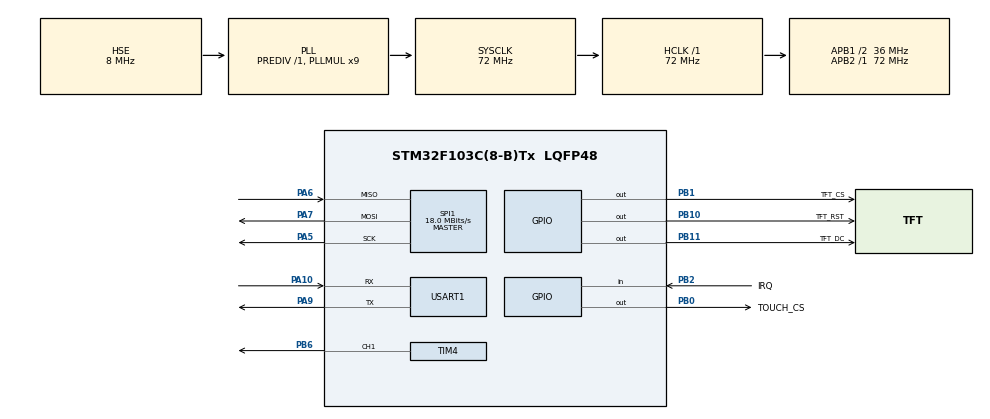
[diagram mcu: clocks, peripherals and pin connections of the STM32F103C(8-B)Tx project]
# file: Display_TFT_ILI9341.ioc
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Mcu.Family=STM32F1
Mcu.Name=STM32F103C(8-B)Tx
Mcu.Package=LQFP48
NVIC.PriorityGroup=NVIC_PRIORITYGROUP_4
PA10.Mode=Asynchronous
PA10.Signal=USART1_RX
PA13.Mode=Serial_Wire
PA13.Signal=SYS_JTMS-SWDIO
PA14.Mode=Serial_Wire
PA14.Signal=SYS_JTCK-SWCLK
PA5.Mode=Full_Duplex_Master
PA5.Signal=SPI1_SCK
PA6.Mode=Full_Duplex_Master
PA6.Signal=SPI1_MISO
PA7.Mode=Full_Duplex_Master
PA7.Signal=SPI1_MOSI
PA9.Mode=Asynchronous
PA9.Signal=USART1_TX
PB0.GPIO_Label=TOUCH_CS
PB0.Signal=GPIO_Output
PB1.GPIO_Label=TFT_CS
PB1.Signal=GPIO_Output
PB10.GPIO_Label=TFT_RST
PB10.Signal=GPIO_Output
PB11.GPIO_Label=TFT_DC
PB11.Signal=GPIO_Output
PB2.GPIO_Label=IRQ
PB2.Signal=GPIO_Input
PB6.Signal=S_TIM4_CH1
PD0-OSC_IN.Mode=HSE-External-Oscillator
PD0-OSC_IN.Signal=RCC_OSC_IN
PD1-OSC_OUT.Mode=HSE-External-Oscillator
PD1-OSC_OUT.Signal=RCC_OSC_OUT
ProjectManager.HeapSize=0x200
ProjectManager.StackSize=0x400
ProjectManager.TargetToolchain=TrueSTUDIO
RCC.ADCPresc=RCC_ADCPCLK2_DIV6
RCC.AHBFreq_Value=72000000
RCC.APB1CLKDivider=RCC_HCLK_DIV2
RCC.APB1Freq_Value=36000000
RCC.APB1TimFreq_Value=72000000
RCC.APB2Freq_Value=72000000
RCC.APB2TimFreq_Value=72000000
RCC.HCLKFreq_Value=72000000
RCC.PLLMUL=RCC_PLL_MUL9
RCC.PLLSourceVirtual=RCC_PLLSOURCE_HSE
RCC.SYSCLKFreq_VALUE=72000000
RCC.SYSCLKSource=RCC_SYSCLKSOURCE_PLLCLK
RCC.USBFreq_Value=72000000
SH.S_TIM4_CH1.0=TIM4_CH1,PWM Generation1 CH1
SPI1.BaudRatePrescaler=SPI_BAUDRATEPRESCALER_4
SPI1.CalculateBaudRate=18.0 MBits/s
SPI1.Direction=SPI_DIRECTION_2LINES
SPI1.Mode=SPI_MODE_MASTER
SPI1.VirtualType=VM_MASTER
TIM4.Channel-PWM\ Generation1\ CH1=TIM_CHANNEL_1
TIM4.Period=1000
TIM4.Prescaler=71
TIM4.Pulse-PWM\ Generation1\ CH1=500
USART1.VirtualMode=VM_ASYNC
board=custom

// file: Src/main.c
/* USER CODE BEGIN Header */
/**
  ******************************************************************************
  * @file           : main.c
  * @brief          : Main program body
  ******************************************************************************
  * @attention
  *
  * <h2><center>&copy; Copyright (c) 2020 STMicroelectronics.
  * All rights reserved.</center></h2>
  *
  * This software component is licensed by ST under BSD 3-Clause license,
  * the "License"; You may not use this file except in compliance with the
  * License. You may obtain a copy of the License at:
  *                        opensource.org/licenses/BSD-3-Clause
  *
  ******************************************************************************
  */
/* USER CODE END Header */

#include "main.h"

/* USER CODE BEGIN Includes */
#include "string.h"
#include "stdio.h"

#include "ILI9341_GFX.h"
#include "fonts.h"
#include "img.h"
#include "xpt2046_touch.h"
/* USER CODE END Includes */

SPI_HandleTypeDef hspi1;

TIM_HandleTypeDef htim4;

UART_HandleTypeDef huart1;

void SystemClock_Config(void);
static void MX_GPIO_Init(void);
static void MX_SPI1_Init(void);
static void MX_USART1_UART_Init(void);
static void MX_TIM4_Init(void);

int main(void)
{

  /* MCU Configuration--------------------------------------------------------*/

  /* Reset of all peripherals, Initializes the Flash interface and the Systick. */
  HAL_Init();

  /* Configure the system clock */
  SystemClock_Config();

  /* Initialize all configured peripherals */
  MX_GPIO_Init();
  MX_SPI1_Init();
  MX_USART1_UART_Init();
  MX_TIM4_Init();
  /* USER CODE BEGIN 2 */
  HAL_TIM_PWM_Start(&htim4, TIM_CHANNEL_1); // этот таймер используется у меня для подсветки экрана
  HAL_UART_Transmit(&huart1, (uint8_t*)"Start\n", 6, 1000);

  __HAL_SPI_ENABLE(DISP_SPI_PTR);

  DISP_CS_UNSELECT;
  TOUCH_CS_UNSELECT; // это нужно только если есть тач

  /////////////////////////////////////////////////////////////////////////////////////////////////////////////////
  ILI9341_Init(); // инициализация дисплея

  /////////////////////////// далее демонстрируются различные пользовательские функции ////////////////////////////
  ILI9341_Set_Rotation(SCREEN_HORIZONTAL_2); // установка ориентации экрана (варианты в файле ILI9341_GFX.h)

  /////////////////////////////////////////////////////////////////////////////////////////////////////////////////
  ILI9341_Fill_Screen(MYFON); // заливка всего экрана цветом (цвета в файле ILI9341_GFX.h)

  /////////////////////////////////////////////////////////////////////////////////////////////////////////////////
  /* вывод строк разными шрифтами (шрифты определены в файле fonts.h, а массивы шрифтов в файле fonts.c)
  первый и второй аргумент это начало координат (справа, сверху), четвёртый аргумент шрифт
  два последних аргумента это цвет шрифта и цвет фона шрифта */

  ILI9341_WriteString(10, 10, "Hello World", Font_7x10, WHITE, MYFON); // можно передавать непосредственно текст
  ILI9341_WriteString(20, 30, "Hello World", Font_11x18, WHITE, MYFON);
  ILI9341_WriteString(30, 60, "Hello World", Font_16x26, BLUE, DARKGREEN);

  char txt_buf[] = "Hello World";
  ILI9341_WriteString(40, 96, txt_buf, Font_16x26, RED, GREEN); // можно передавать массив

  HAL_Delay(1000);

  ILI9341_Fill_Screen(MYFON);

  /////////////////////////////////////////////////////////////////////////////////////////////////////////////////
  ILI9341_Draw_Pixel(100, 100, WHITE); // рисует пиксель (координаты и цвет)
  HAL_Delay(300);
  ILI9341_Draw_Pixel(102, 100, MAROON);
  HAL_Delay(300);
  ILI9341_Draw_Pixel(100, 102, BLUE);
  HAL_Delay(300);
  ILI9341_Draw_Pixel(102, 102, RED);
  HAL_Delay(300);

  for(uint8_t i = 0; i < 100; i++)
  {
	  ILI9341_Draw_Pixel(i, 20, WHITE);
	  HAL_Delay(10);
  }

  for(uint8_t i = 0; i < 100; i++)
  {
	  ILI9341_Draw_Pixel(40, i, BLUE);
	  HAL_Delay(10);
  }

  for(uint8_t i = 0; i < 100; i++)
  {
	  ILI9341_Draw_Pixel(i, i, RED);
	  HAL_Delay(10);
  }

  HAL_Delay(1000);

  ILI9341_Fill_Screen(MYFON);

  /////////////////////////////////////////////////////////////////////////////////////////////////////////////////
  ILI9341_Draw_Rectangle(10, 10, 50, 70, WHITE); // рисует закрашеный прямоугольник (первые два аргумента это начальные координаты, а следующие два это ширина и высота)

  HAL_Delay(1000);

  ILI9341_Fill_Screen(MYFON);

  /////////////////////////////////////////////////////////////////////////////////////////////////////////////////
  ILI9341_Draw_Horizontal_Line(10, 10, 200, WHITE); // рисует горизонтальную линию (первые два аргумента это начальные координаты, а третий длина)

  HAL_Delay(1000);

  ILI9341_Fill_Screen(MYFON);

  /////////////////////////////////////////////////////////////////////////////////////////////////////////////////
  ILI9341_Draw_Vertical_Line(10, 10, 200, WHITE); // рисует вертикальную линию (первые два аргумента это начальные координаты, а третий длина)

  HAL_Delay(1000);

  ILI9341_Fill_Screen(MYFON);

  /////////////////////////////////////////////////////////////////////////////////////////////////////////////////
  ILI9341_Random_line(160, 120, 50, 175, WHITE); // рисует произвольную линию (первые два аргумента это начальные координаты, а третий и четвёртый - конечные)

  HAL_Delay(1000);

  ILI9341_Random_line(123, 180, 150, 75, WHITE);

  HAL_Delay(1000);

  ILI9341_Fill_Screen(MYFON);

  /////////////////////////////////////////////////////////////////////////////////////////////////////////////////
  ILI9341_Draw_Hollow_Circle(100, 100, 50, WHITE); // рисует прозрачный круг (первые два аргумента это координаты центра, а третий радиус)

  HAL_Delay(1000);

  ILI9341_Fill_Screen(MYFON);

  /////////////////////////////////////////////////////////////////////////////////////////////////////////////////
  ILI9341_Draw_Filled_Circle(150, 100, 40, WHITE); // рисует закрашеный круг (первые два аргумента это координаты центра, а третий радиус)

  HAL_Delay(1000);

  ILI9341_Fill_Screen(MYFON);

  /////////////////////////////////////////////////////////////////////////////////////////////////////////////////
  ILI9341_Draw_Hollow_Rectangle_Coord(10, 10, 50, 70, WHITE); // рисует прозрачный прямоугольник (первые два аргумента это начальные координаты, а вторые два конечные)

  HAL_Delay(1000);

  ILI9341_Fill_Screen(MYFON);

  /////////////////////////////////////////////////////////////////////////////////////////////////////////////////
  ILI9341_Draw_Filled_Rectangle_Coord(20, 20, 70, 60, WHITE); // рисует закрашеный прямоугольник (первые два аргумента это начальные координаты, а вторые два конечные)

  HAL_Delay(1000);

  ILI9341_Fill_Screen(MYFON);

  ////////////////////////////////// ВЫВОД КАРТИНКИ ИЗ ВНУТРЕННЕЙ ПАМЯТИ //////////////////////////////////////////
  uint16_t size_img = sizeof(img_logo); // размер картинки в байтах (картинка лежит в файле img.h)

  ILI9341_Draw_Image(img_logo, 30, 30, 80, 80, size_img); // подробности см. статье

  HAL_Delay(1000);

  //////////////////////////////////// смена ориентации экрана ///////////////////////////////////////

  ILI9341_Fill_Screen(MYFON);
  ILI9341_Set_Rotation(SCREEN_VERTICAL_1);
  ILI9341_Draw_Image(img_logo, 30, 30, 80, 80, size_img);
  ILI9341_WriteString(30, 120, "SCREEN_VERTICAL_1", Font_11x18, WHITE, MYFON);
  HAL_Delay(1000);

  ILI9341_Fill_Screen(MYFON);
  ILI9341_Set_Rotation(SCREEN_HORIZONTAL_1);
  ILI9341_Draw_Image(img_logo, 30, 30, 80, 80, size_img);
  ILI9341_WriteString(30, 120, "SCREEN_HORIZONTAL_1", Font_11x18, WHITE, MYFON);
  HAL_Delay(1000);

  ILI9341_Fill_Screen(MYFON);
  ILI9341_Set_Rotation(SCREEN_VERTICAL_2);
  ILI9341_Draw_Image(img_logo, 30, 30, 80, 80, size_img);
  ILI9341_WriteString(30, 120, "SCREEN_VERTICAL_2", Font_11x18, WHITE, MYFON);
  HAL_Delay(1000);

  ILI9341_Fill_Screen(MYFON);
  ILI9341_Set_Rotation(SCREEN_HORIZONTAL_2);
  ILI9341_Draw_Image(img_logo, 30, 30, 80, 80, size_img);
  ILI9341_WriteString(30, 120, "SCREEN_HORIZONTAL_2", Font_11x18, WHITE, MYFON);

  /////////////////////////////////////////////////////////////////////////////////////////////////////////////////
  char buf[64] = {0,};

  uint8_t flag_press = 1;
  uint32_t time_press = 0;

  uint8_t flag_hold = 1;
  uint32_t timme_hold = 0;

  uint16_t x = 0;
  uint16_t y = 0;

  /* USER CODE END 2 */

  /* Infinite loop */
  /* USER CODE BEGIN WHILE */
while (1)
{
  if(HAL_GPIO_ReadPin(IRQ_GPIO_Port, IRQ_Pin) == GPIO_PIN_RESET && flag_press) // если нажат тачскрин
  {
	  x = 0;
	  y = 0;

	  TOUCH_CS_UNSELECT;
	  DISP_CS_UNSELECT;

	  HAL_SPI_DeInit(DISP_SPI_PTR);
	  hspi1.Init.BaudRatePrescaler = SPI_BAUDRATEPRESCALER_64;
	  HAL_SPI_Init(DISP_SPI_PTR);

	  if(ILI9341_TouchGetCoordinates(&x, &y))
	  {
		  flag_press = 0;

		  //////// вывод координат в уарт для отладки ////////
		  snprintf(buf, 64, "X = %d, Y = %d\n", x, y);
		  HAL_UART_Transmit(&huart1, (uint8_t*)buf, strlen(buf), 100);
		  buf[strlen(buf) - 1] = '\0';
		  //////////////////////////////////////////////////////
	  }

	  HAL_SPI_DeInit(DISP_SPI_PTR);
	  hspi1.Init.BaudRatePrescaler = SPI_BAUDRATEPRESCALER_4;
	  HAL_SPI_Init(DISP_SPI_PTR);

	  __HAL_SPI_ENABLE(DISP_SPI_PTR);
	  DISP_CS_SELECT;

	  //////// вывод координат на экран для отладки ////////
	  ILI9341_Fill_Screen(MYFON);
	  ILI9341_WriteString(10, 120, buf, Font_11x18, WHITE, MYFON);
	  //////////////////////////////////////////////////////

	  if(x > 250 && x < 285 && y > 65 && y < 96) // если нажатие происходит в области этих координат
	  {
		  // что-то делаем
	  }
	  else if(x > 120 && x < 160 && y > 50 && y < 90) // если нажатие происходит в области этих координат
	  {
		  // что-то делаем
	  }
	  ///////////////// если нажатие происходит c удержанием кнопки ////////////////
	  else if(x > 5 && x < 90 && y > 160 && y < 230 && flag_hold) // первая кнопка
	  {
		  flag_hold = 0;
		  timme_hold = HAL_GetTick();
		  // здесь ничего не делаем
	  }
	  else if(x > 100 && x < 200 && y > 160 && y < 230 && flag_hold) // вторая кнопка
	  {
		  flag_hold = 0;
		  timme_hold = HAL_GetTick();
		  // здесь ничего не делаем
	  }

	  ///////////////////////////
	  time_press = HAL_GetTick();
  }

  if(!flag_press && (HAL_GetTick() - time_press) > 200) // задержка до следующего нажатия
  {
	  flag_press = 1;
  }

  //////////////////////////// удержание кнопки //////////////////////////////
  if(!flag_hold && HAL_GPIO_ReadPin(IRQ_GPIO_Port, IRQ_Pin) != GPIO_PIN_RESET)
  {
	  flag_hold = 1;
  }

  if(!flag_hold && (HAL_GetTick() - timme_hold) > 2000) // 2 sek удержание кнопки
  {
	  if(HAL_GPIO_ReadPin(IRQ_GPIO_Port, IRQ_Pin) == GPIO_PIN_RESET)
	  {
		  if(x > 5 && x < 90 && y > 160 && y < 230) // первая кнопка
		  {
			  HAL_UART_Transmit(&huart1, (uint8_t*)"LONG PRESS_1\n", 13, 100); // отладка
			  ILI9341_WriteString(10, 150, "LONG PRESS_1", Font_11x18, WHITE, MYFON); // отладка
			  // что-то делаем
		  }
		  else if(x > 100 && x < 200 && y > 160 && y < 230) // вторая кнопка
		  {
			  HAL_UART_Transmit(&huart1, (uint8_t*)"LONG PRESS_2\n", 13, 100); // отладка
			  ILI9341_WriteString(10, 150, "LONG PRESS_2", Font_11x18, WHITE, MYFON); // отладка
			  // что-то делаем
		  }
	  }

	  flag_hold = 1;
  }
  /////////////////////////////////////////////////////////////////////////////

// далее какой-то ваш код, который не должен сильно тормозить цикл

    /* USER CODE END WHILE */

}
}

void SystemClock_Config(void)
{
  RCC_OscInitTypeDef RCC_OscInitStruct = {0};
  RCC_ClkInitTypeDef RCC_ClkInitStruct = {0};

  /** Initializes the CPU, AHB and APB busses clocks
  */
  RCC_OscInitStruct.OscillatorType = RCC_OSCILLATORTYPE_HSE;
  RCC_OscInitStruct.HSEState = RCC_HSE_ON;
  RCC_OscInitStruct.HSEPredivValue = RCC_HSE_PREDIV_DIV1;
  RCC_OscInitStruct.HSIState = RCC_HSI_ON;
  RCC_OscInitStruct.PLL.PLLState = RCC_PLL_ON;
  RCC_OscInitStruct.PLL.PLLSource = RCC_PLLSOURCE_HSE;
  RCC_OscInitStruct.PLL.PLLMUL = RCC_PLL_MUL9;
  if (HAL_RCC_OscConfig(&RCC_OscInitStruct) != HAL_OK)
  {
    Error_Handler();
  }
  /** Initializes the CPU, AHB and APB busses clocks
  */
  RCC_ClkInitStruct.ClockType = RCC_CLOCKTYPE_HCLK|RCC_CLOCKTYPE_SYSCLK
                              |RCC_CLOCKTYPE_PCLK1|RCC_CLOCKTYPE_PCLK2;
  RCC_ClkInitStruct.SYSCLKSource = RCC_SYSCLKSOURCE_PLLCLK;
  RCC_ClkInitStruct.AHBCLKDivider = RCC_SYSCLK_DIV1;
  RCC_ClkInitStruct.APB1CLKDivider = RCC_HCLK_DIV2;
  RCC_ClkInitStruct.APB2CLKDivider = RCC_HCLK_DIV1;

  if (HAL_RCC_ClockConfig(&RCC_ClkInitStruct, FLASH_LATENCY_2) != HAL_OK)
  {
    Error_Handler();
  }
}

static void MX_SPI1_Init(void)
{

  /* SPI1 parameter configuration*/
  hspi1.Instance = SPI1;
  hspi1.Init.Mode = SPI_MODE_MASTER;
  hspi1.Init.Direction = SPI_DIRECTION_2LINES;
  hspi1.Init.DataSize = SPI_DATASIZE_8BIT;
  hspi1.Init.CLKPolarity = SPI_POLARITY_LOW;
  hspi1.Init.CLKPhase = SPI_PHASE_1EDGE;
  hspi1.Init.NSS = SPI_NSS_SOFT;
  hspi1.Init.BaudRatePrescaler = SPI_BAUDRATEPRESCALER_4;
  hspi1.Init.FirstBit = SPI_FIRSTBIT_MSB;
  hspi1.Init.TIMode = SPI_TIMODE_DISABLE;
  hspi1.Init.CRCCalculation = SPI_CRCCALCULATION_DISABLE;
  hspi1.Init.CRCPolynomial = 10;
  if (HAL_SPI_Init(&hspi1) != HAL_OK)
  {
    Error_Handler();
  }

}

static void MX_TIM4_Init(void)
{

  TIM_MasterConfigTypeDef sMasterConfig = {0};
  TIM_OC_InitTypeDef sConfigOC = {0};

  htim4.Instance = TIM4;
  htim4.Init.Prescaler = 71;
  htim4.Init.CounterMode = TIM_COUNTERMODE_UP;
  htim4.Init.Period = 1000;
  htim4.Init.ClockDivision = TIM_CLOCKDIVISION_DIV1;
  htim4.Init.AutoReloadPreload = TIM_AUTORELOAD_PRELOAD_DISABLE;
  if (HAL_TIM_PWM_Init(&htim4) != HAL_OK)
  {
    Error_Handler();
  }
  sMasterConfig.MasterOutputTrigger = TIM_TRGO_RESET;
  sMasterConfig.MasterSlaveMode = TIM_MASTERSLAVEMODE_DISABLE;
  if (HAL_TIMEx_MasterConfigSynchronization(&htim4, &sMasterConfig) != HAL_OK)
  {
    Error_Handler();
  }
  sConfigOC.OCMode = TIM_OCMODE_PWM1;
  sConfigOC.Pulse = 500;
  sConfigOC.OCPolarity = TIM_OCPOLARITY_HIGH;
  sConfigOC.OCFastMode = TIM_OCFAST_DISABLE;
  if (HAL_TIM_PWM_ConfigChannel(&htim4, &sConfigOC, TIM_CHANNEL_1) != HAL_OK)
  {
    Error_Handler();
  }
  HAL_TIM_MspPostInit(&htim4);

}

static void MX_USART1_UART_Init(void)
{

  huart1.Instance = USART1;
  huart1.Init.BaudRate = 115200;
  huart1.Init.WordLength = UART_WORDLENGTH_8B;
  huart1.Init.StopBits = UART_STOPBITS_1;
  huart1.Init.Parity = UART_PARITY_NONE;
  huart1.Init.Mode = UART_MODE_TX_RX;
  huart1.Init.HwFlowCtl = UART_HWCONTROL_NONE;
  huart1.Init.OverSampling = UART_OVERSAMPLING_16;
  if (HAL_UART_Init(&huart1) != HAL_OK)
  {
    Error_Handler();
  }

}

static void MX_GPIO_Init(void)
{
  GPIO_InitTypeDef GPIO_InitStruct = {0};

  /* GPIO Ports Clock Enable */
  __HAL_RCC_GPIOD_CLK_ENABLE();
  __HAL_RCC_GPIOA_CLK_ENABLE();
  __HAL_RCC_GPIOB_CLK_ENABLE();

  /*Configure GPIO pin Output Level */
  HAL_GPIO_WritePin(GPIOB, TOUCH_CS_Pin|TFT_CS_Pin|TFT_RST_Pin|TFT_DC_Pin, GPIO_PIN_RESET);

  /*Configure GPIO pins : TOUCH_CS_Pin TFT_CS_Pin TFT_RST_Pin TFT_DC_Pin */
  GPIO_InitStruct.Pin = TOUCH_CS_Pin|TFT_CS_Pin|TFT_RST_Pin|TFT_DC_Pin;
  GPIO_InitStruct.Mode = GPIO_MODE_OUTPUT_PP;
  GPIO_InitStruct.Pull = GPIO_NOPULL;
  GPIO_InitStruct.Speed = GPIO_SPEED_FREQ_LOW;
  HAL_GPIO_Init(GPIOB, &GPIO_InitStruct);

  /*Configure GPIO pin : IRQ_Pin */
  GPIO_InitStruct.Pin = IRQ_Pin;
  GPIO_InitStruct.Mode = GPIO_MODE_INPUT;
  GPIO_InitStruct.Pull = GPIO_NOPULL;
  HAL_GPIO_Init(IRQ_GPIO_Port, &GPIO_InitStruct);

}

void Error_Handler(void)
{
}

/************************ (C) COPYRIGHT STMicroelectronics *****END OF FILE****/
